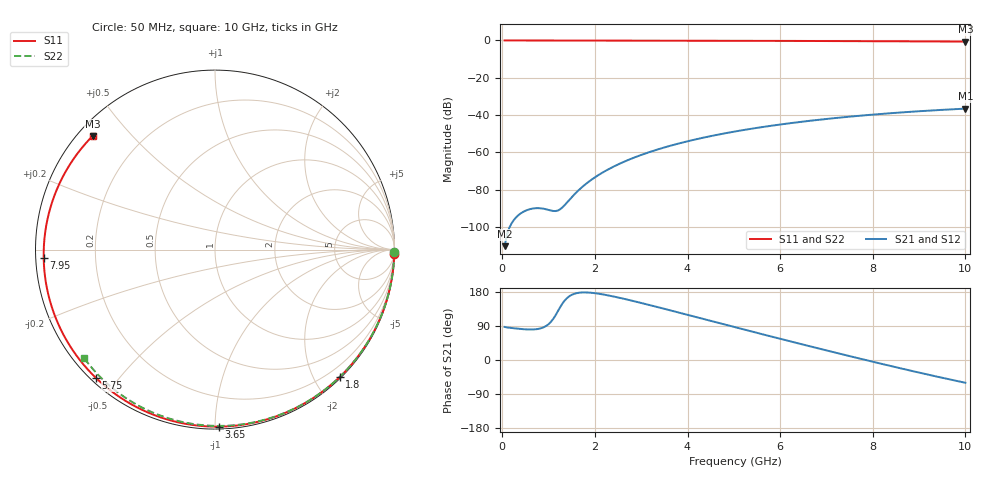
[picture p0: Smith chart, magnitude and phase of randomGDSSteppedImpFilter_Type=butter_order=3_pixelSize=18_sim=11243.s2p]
! freq	dB(S11)	phase(S11)	dB(S12)	phase(S12)
!  dB(S21)	phase(S21)	dB(S22)	phase(S22)
!S-par simulation data
#  GHz  S  DB  R 50
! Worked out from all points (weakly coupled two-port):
!   200 points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, 50 MHz to 10 GHz, reference 50 ohm
!   highest |S21| = -36.56 dB at 10 GHz (marker M1); lowest = -110.3 dB at 50 MHz (marker M2)
!   lowest |S11| = -0.6 dB at 10 GHz (marker M3), VSWR 27.76, Z = 2.08 + j19.6 ohm
!   |S11| at or under -10 dB: nowhere
!   |S22| runs from -0.5 to 0.0 dB; largest |S21 - S12| = 0
!   S11 on the Smith chart (normalised r, x): 50 MHz: 2, -91; 1.8 GHz: 0.02, -2.38; 3.65 GHz: 0.01, -1.02; 5.75 GHz: 0.01, -0.44; 7.95 GHz: 0.02, -0.02; 10 GHz: 0.04, +0.39
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0.05  -0.00 -1.3  -110.30 87.3  -110.30 87.3  -0.00 -0.8
0.45  -0.02 -11.6  -91.92 81.3  -91.92 81.3  -0.01 -7.3
0.8  -0.03 -20.6  -89.93 82.6  -89.93 82.6  -0.02 -12.9
1.2  -0.04 -30.7  -91.19 128.6  -91.19 128.6  -0.02 -19.3
1.65  -0.05 -41.9  -80.25 177.4  -80.25 177.4  -0.03 -26.4
1.75  -0.06 -44.4  -78.04 178.3  -78.04 178.3  -0.04 -28.0
1.8  -0.06 -45.6  -77.02 178.3  -77.02 178.3  -0.04 -28.8
2.1  -0.07 -52.9  -71.80 174.6  -71.80 174.6  -0.04 -33.5
2.45  -0.08 -61.3  -67.07 166.4  -67.07 166.4  -0.05 -38.9
2.9  -0.09 -71.8  -62.30 153.5  -62.30 153.5  -0.06 -45.7
3.4  -0.11 -83.1  -58.10 138.2  -58.10 138.2  -0.07 -53.2
3.65  -0.12 -88.7  -56.30 130.3  -56.30 130.3  -0.08 -56.9
4.35  -0.14 -103.8  -52.07 108.1  -52.07 108.1  -0.10 -67.1
5.05  -0.18 -118.5  -48.70 85.8  -48.70 85.8  -0.12 -77.0
5.75  -0.22 -132.7  -45.93 63.8  -45.93 63.8  -0.15 -86.5
6.7  -0.28 -151.9  -42.91 34.4  -42.91 34.4  -0.19 -99.1
7.35  -0.34 -165.0  -41.21 14.7  -41.21 14.7  -0.23 -107.5
7.95  -0.39 -177.3  -39.86 -3.1  -39.86 -3.1  -0.27 -115.1
8.35  -0.44 174.3  -39.07 -14.8  -39.07 -14.8  -0.31 -120.1
8.8  -0.48 164.6  -38.28 -27.6  -38.28 -27.6  -0.35 -125.7
9.2  -0.53 155.7  -37.64 -38.8  -37.64 -38.8  -0.39 -130.6
10  -0.63 137.1  -36.56 -60.1  -36.56 -60.1  -0.48 -140.5
